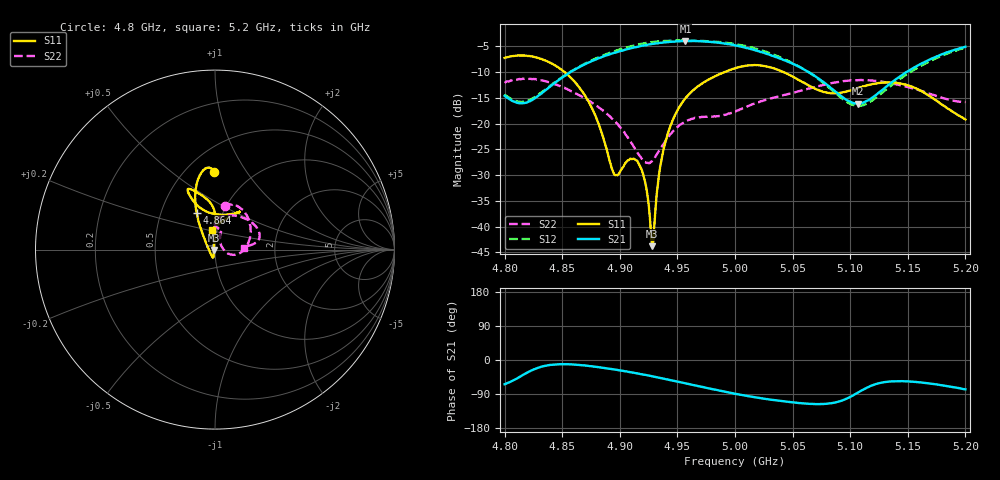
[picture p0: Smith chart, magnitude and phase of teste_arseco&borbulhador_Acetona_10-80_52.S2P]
! Network Analyzer HP8722D
! Hewlett-Packard
! Data name: Linha & Wilkinson
! Saver's name: Rodrigo Anjos
! Comments: Teste da utilização de aquisição
! continua pelo VNA HP8722D
! Time and date: 25/4/2025 15:42
!  Frequency  S11  S21  S12  S22
# HZ  S  MA R 50
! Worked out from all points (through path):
!   401 points, 4.8 GHz to 5.2 GHz, reference 50 ohm
!   highest |S21| = -3.96 dB at 4.957 GHz (marker M1); lowest = -16.1 dB at 5.107 GHz (marker M2)
!   lowest |S11| = -43.8 dB at 4.928 GHz (marker M3), VSWR 1.01, Z = 49.4 - j0.18 ohm
!   |S11| at or under -10 dB: 4.852 GHz to 4.991 GHz (138.9 MHz wide, 2.82 % of centre); 5.042 GHz to end of sweep
!   |S22| runs from -27.7 to -11.3 dB; largest |S21 - S12| = 1.2
!   S11 on the Smith chart (normalised r, x): 4.8 GHz: 0.68, +0.72; 4.864 GHz: 0.75, +0.33; 5.2 GHz: 0.94, +0.21
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4.8e9  0.4338 90.6  0.1862 -64.0  0.1914 69.5  0.2482 77.3
4.82e9  0.4532 96.9  0.1612 -32.5  0.1671 98.2  0.2735 61.9
4.844e9  0.3652 106.6  0.2495 -11.7  0.2529 119.2  0.2392 35.6
4.864e9  0.2307 116.4  0.3495 -12.9  0.3531 120.9  0.19 12.0
4.867e9  0.2077 118.1  0.3636 -13.9  0.3678 120.7  0.1825 8.8
4.88e9  0.1106 128.3  0.423 -18.3  0.4329 118.3  0.1488 -5.4
4.895e9  0.03227 -172.9  0.4862 -25.0  0.5018 113.7  0.1073 -15.9
4.909e9  0.04568 -106.2  0.5357 -32.1  0.5612 107.7  0.06736 -14.7
4.917e9  0.03971 -101.5  0.5622 -36.4  0.5894 103.6  0.04898 -1.5
4.922e9  0.02696 -105.0  0.5764 -39.1  0.6038 100.9  0.04237 15.5
4.928e9  0.006462 -163.6  0.5913 -42.9  0.6175 97.1  0.04314 40.5
4.93e9  0.01041 124.6  0.5969 -44.2  0.6202 95.7  0.0458 48.2
4.934e9  0.03162 98.6  0.6049 -46.7  0.6295 93.3  0.05445 58.3
4.943e9  0.08857 90.1  0.6204 -52.5  0.6374 87.6  0.07648 69.3
4.957e9  0.1766 89.2  0.6339 -61.5  0.6401 78.7  0.1052 71.5
5e9  0.3443 109.0  0.5737 -89.1  0.5931 50.9  0.1313 88.5
5.03e9  0.3528 115.1  0.4654 -104.3  0.4839 33.7  0.1735 85.5
5.067e9  0.2256 105.1  0.3017 -115.9  0.2997 23.6  0.2229 57.3
5.107e9  0.2222 63.8  0.1562 -85.5  0.1482 57.7  0.2641 24.3
5.134e9  0.2509 57.0  0.2412 -56.8  0.2266 88.6  0.2484 12.3
5.169e9  0.185 69.5  0.4186 -62.1  0.402 84.8  0.1945 6.9
5.2e9  0.1097 100.2  0.5567 -77.5  0.5458 70.2  0.1612 3.9
